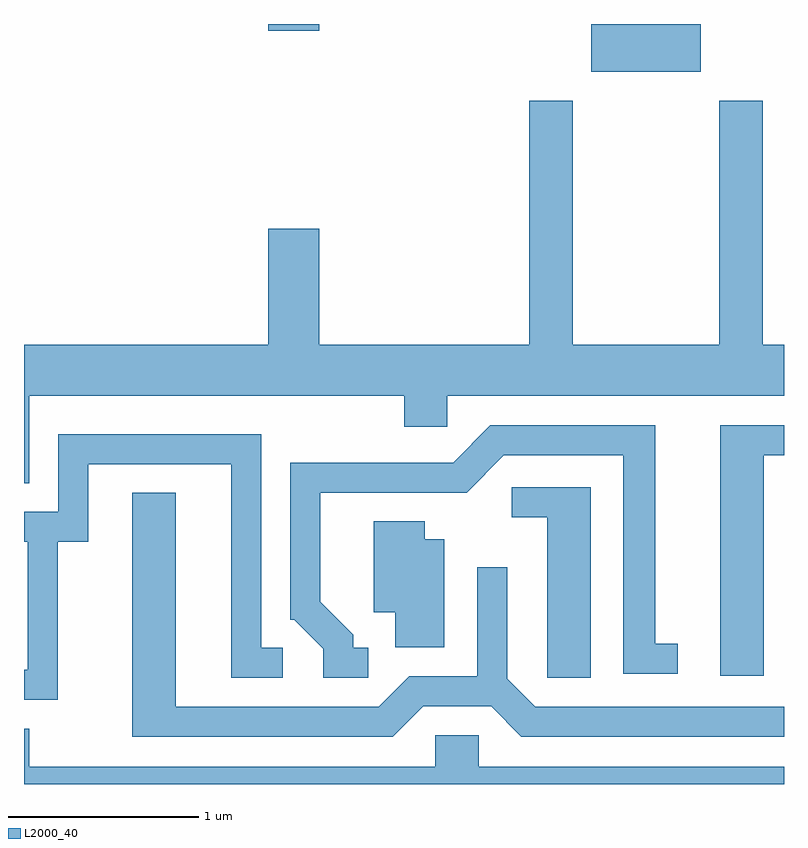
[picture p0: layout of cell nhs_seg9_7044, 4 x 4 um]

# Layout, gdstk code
import gdstk
lib = gdstk.Library(unit=1e-6, precision=1e-09)
def R(c, l, rs):  # rectangles x0, y0, x1, y1
    for r in rs: c.add(gdstk.rectangle(r[:2], r[2:], *l))
def P(c, l, *ps):  # polygons
    for p in ps: c.add(gdstk.Polygon(p, *l))
L2000_40 = (2000, 40)

nhs_seg9_7044 = lib.new_cell('nhs_seg9_7044')
R(nhs_seg9_7044, L2000_40, [(396.596,2000.181,397.174,2000.432), (394.896,2000.396,395.164,2000.432)])
P(nhs_seg9_7044, L2000_40, [(393.639,1998.476),(395.611,1998.476),(395.611,1998.311),(395.839,1998.311),(395.839,1998.476),(397.611,1998.476),(397.611,1998.744),(397.499,1998.744),(397.499,2000.029),(397.271,2000.029),(397.271,1998.744),(396.499,1998.744),(396.499,2000.029),(396.271,2000.029),(396.271,1998.744),(395.164,1998.744),(395.164,1999.354),(394.896,1999.354),(394.896,1998.744),(393.611,1998.744),(393.611,1998.016),(393.639,1998.016)],
  [(397.504,1998.161),(397.611,1998.161),(397.611,1998.319),(397.276,1998.319),(397.276,1997.001),(397.504,1997.001)],
  [(395.423,1997.149),(395.344,1997.149),(395.344,1997.217),(395.169,1997.392),(395.169,1997.966),(395.942,1997.966),(396.137,1998.161),(396.766,1998.161),(396.766,1997.011),(397.053,1997.011),(397.053,1997.169),(396.934,1997.169),(396.934,1998.319),(396.064,1998.319),(395.869,1998.124),(395.011,1998.124),(395.011,1997.296),(395.034,1997.296),(395.186,1997.144),(395.186,1996.991),(395.423,1996.991)],
  [(393.789,1997.706),(393.949,1997.706),(393.949,1998.116),(394.701,1998.116),(394.701,1996.991),(394.973,1996.991),(394.973,1997.149),(394.859,1997.149),(394.859,1998.274),(393.791,1998.274),(393.791,1997.864),(393.611,1997.864),(393.611,1997.706),(393.631,1997.706),(393.631,1997.034),(393.611,1997.034),(393.611,1996.876),(393.789,1996.876)],
  [(396.594,1997.994),(396.178,1997.994),(396.178,1997.836),(396.366,1997.836),(396.366,1996.991),(396.594,1996.991)],
  [(395.712,1996.841),(396.069,1996.841),(396.229,1996.681),(397.611,1996.681),(397.611,1996.839),(396.302,1996.839),(396.154,1996.987),(396.154,1997.573),(395.996,1997.573),(395.996,1996.999),(395.639,1996.999),(395.479,1996.839),(394.409,1996.839),(394.409,1997.964),(394.181,1997.964),(394.181,1996.681),(395.552,1996.681)],
  [(395.824,1997.719),(395.719,1997.719),(395.719,1997.814),(395.451,1997.814),(395.451,1997.336),(395.566,1997.336),(395.566,1997.151),(395.824,1997.151)],
  [(397.611,1996.524),(396.004,1996.524),(396.004,1996.689),(395.776,1996.689),(395.776,1996.524),(393.639,1996.524),(393.639,1996.724),(393.611,1996.724),(393.611,1996.432),(397.611,1996.432)])

lib.write_gds('nhs_seg9_7044.gds')
